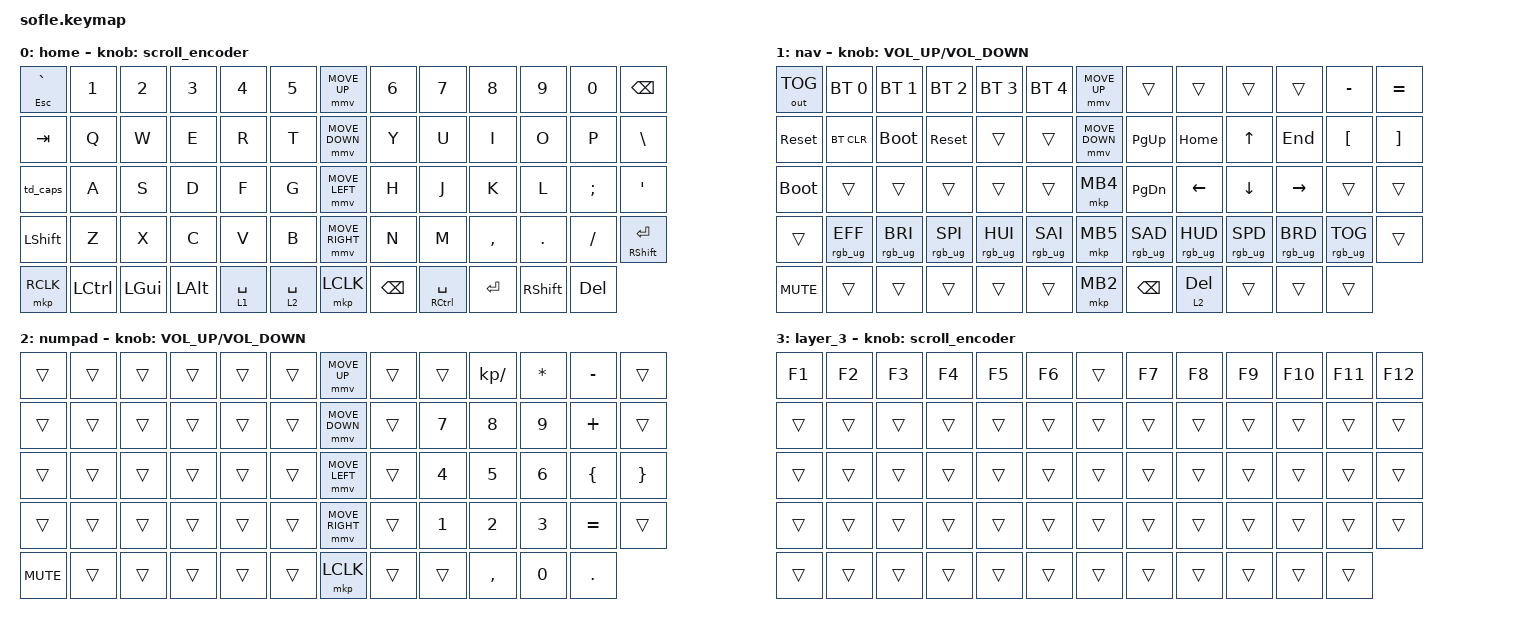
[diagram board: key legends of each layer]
#include <behaviors/mouse_keys.dtsi>
#include <behaviors.dtsi>
#include <dt-bindings/zmk/bt.h>
#include <dt-bindings/zmk/keys.h>
#include <dt-bindings/zmk/mouse.h>
#include <dt-bindings/zmk/outputs.h>
#include <dt-bindings/zmk/rgb.h>

#define ZMK_MOUSE_DEFAULT_MOVE_VAL 1200  // 600
#define ZMK_MOUSE_DEFAULT_SCRL_VAL 20    // 10
#define U_MS_U &mmv MOVE_UP
#define U_MS_D &mmv MOVE_DOWN
#define U_MS_L &mmv MOVE_LEFT
#define U_MS_R &mmv MOVE_RIGHT
#define ZMK_MOUSE_DEFAULT_MOVE_VAL 1200  //  600
#define ZMK_MOUSE_DEFAULT_SCRL_VAL 20    // 10

/ {
    behaviors {
        mmv {
            acceleration-exponent = <1>;      // 1
            time-to-max-speed-ms = <900>;    // 40
            delay-ms = <0>;                   // 0
        };

        msc {
            acceleration-exponent = <1>;      // 0
            time-to-max-speed-ms = <400>;      // 500
            delay-ms = <0>;                   //   10
        };
    };

    scroll_encoder: scroll_encoder {
        compatible = "zmk,behavior-sensor-rotate";
        #sensor-binding-cells = <0>;
        bindings = <&msc SCRL_DOWN>, <&msc SCRL_UP>;

        tap-ms = <30>;
    };

    td_caps: td_caps {
        compatible = "zmk,behavior-tap-dance";
        label = "TD_CAPS";
        #binding-cells = <0>;
        bindings = <&kp LEFT_SHIFT>, <&kp CAPS>;
    };

    keymap {
        compatible = "zmk,keymap";

        layer0 {
            bindings = <
&mt ESC GRAVE   &kp N1     &kp N2        &kp N3        &kp N4       &kp N5         &mmv MOVE_UP     &kp N6         &kp N7           &kp N8     &kp N9           &kp N0      &kp BACKSPACE
&kp TAB         &kp Q      &kp W         &kp E         &kp R        &kp T          &mmv MOVE_DOWN   &kp Y          &kp U            &kp I      &kp O            &kp P       &kp BSLH
&td_caps        &kp A      &kp S         &kp D         &kp F        &kp G          &mmv MOVE_LEFT   &kp H          &kp J            &kp K      &kp L            &kp SEMI    &kp APOS
&kp LEFT_SHIFT  &kp Z      &kp X         &kp C         &kp V        &kp B          &mmv MOVE_RIGHT  &kp N          &kp M            &kp COMMA  &kp DOT          &kp FSLH    &mt RIGHT_SHIFT ENTER
&mkp RCLK       &kp LCTRL  &kp LEFT_GUI  &kp LEFT_ALT  &lt 1 SPACE  &lt 2 SPACE    &mkp LCLK        &kp BACKSPACE  &mt RCTRL SPACE  &kp ENTER  &kp RIGHT_SHIFT  &kp DELETE
            >;

            sensor-bindings = <&scroll_encoder>;
            display-name = "home";
        };

        layer_1 {
            bindings = <
&out OUT_TOG  &bt BT_SEL 0     &bt BT_SEL 1     &bt BT_SEL 2     &bt BT_SEL 3     &bt BT_SEL 4       &mmv MOVE_UP    &trans           &trans           &trans           &trans           &kp MINUS         &kp EQUAL
&sys_reset    &bt BT_CLR       &bootloader      &sys_reset       &trans           &trans             &mmv MOVE_DOWN  &kp PG_UP        &kp HOME         &kp UP           &kp END          &kp LEFT_BRACKET  &kp RIGHT_BRACKET
&bootloader   &trans           &trans           &trans           &trans           &trans             &mkp MB4        &kp PG_DN        &kp LEFT         &kp DOWN         &kp RIGHT        &trans            &trans
&trans        &rgb_ug RGB_EFF  &rgb_ug RGB_BRI  &rgb_ug RGB_SPI  &rgb_ug RGB_HUI  &rgb_ug RGB_SAI    &mkp MB5        &rgb_ug RGB_SAD  &rgb_ug RGB_HUD  &rgb_ug RGB_SPD  &rgb_ug RGB_BRD  &rgb_ug RGB_TOG   &trans
&kp C_MUTE    &trans           &trans           &trans           &trans           &trans             &mkp MB2        &kp BACKSPACE    &lt 2 DELETE     &trans           &trans           &trans
            >;

            display-name = "nav";
            sensor-bindings = <&inc_dec_kp C_VOLUME_UP C_VOLUME_DOWN>;
        };

        layer_2 {
            bindings = <
&trans      &trans  &trans  &trans  &trans  &trans    &mmv MOVE_UP     &trans  &trans        &kp KP_SLASH  &kp ASTERISK  &kp MINUS  &trans
&trans      &trans  &trans  &trans  &trans  &trans    &mmv MOVE_DOWN   &trans  &kp NUMBER_7  &kp NUMBER_8  &kp NUMBER_9  &kp PLUS   &trans
&trans      &trans  &trans  &trans  &trans  &trans    &mmv MOVE_LEFT   &trans  &kp NUMBER_4  &kp N5        &kp NUMBER_6  &kp LBRC   &kp RBRC
&trans      &trans  &trans  &trans  &trans  &trans    &mmv MOVE_RIGHT  &trans  &kp NUMBER_1  &kp NUMBER_2  &kp NUMBER_3  &kp EQUAL  &trans
&kp K_MUTE  &trans  &trans  &trans  &trans  &trans    &mkp LCLK        &trans  &trans        &kp COMMA     &kp NUMBER_0  &kp DOT
            >;

            sensor-bindings = <&inc_dec_kp C_VOLUME_UP C_VOLUME_DOWN>;
            label = "numpad";
        };

        layer_3 {
            bindings = <
&kp F1  &kp F2  &kp F3  &kp F4  &kp F5  &kp F6    &trans  &kp F7  &kp F8  &kp F9  &kp F10  &kp F11  &kp F12
&trans  &trans  &trans  &trans  &trans  &trans    &trans  &trans  &trans  &trans  &trans   &trans   &trans
&trans  &trans  &trans  &trans  &trans  &trans    &trans  &trans  &trans  &trans  &trans   &trans   &trans
&trans  &trans  &trans  &trans  &trans  &trans    &trans  &trans  &trans  &trans  &trans   &trans   &trans
&trans  &trans  &trans  &trans  &trans  &trans    &trans  &trans  &trans  &trans  &trans   &trans
            >;

            sensor-bindings = <&scroll_encoder>;
        };
    };

    conditional_layers {
        compatible = "zmk,conditional-layers";

        layer_3 {
            if-layers = <1 2>;
            then-layer = <3>;
        };
    };
};
